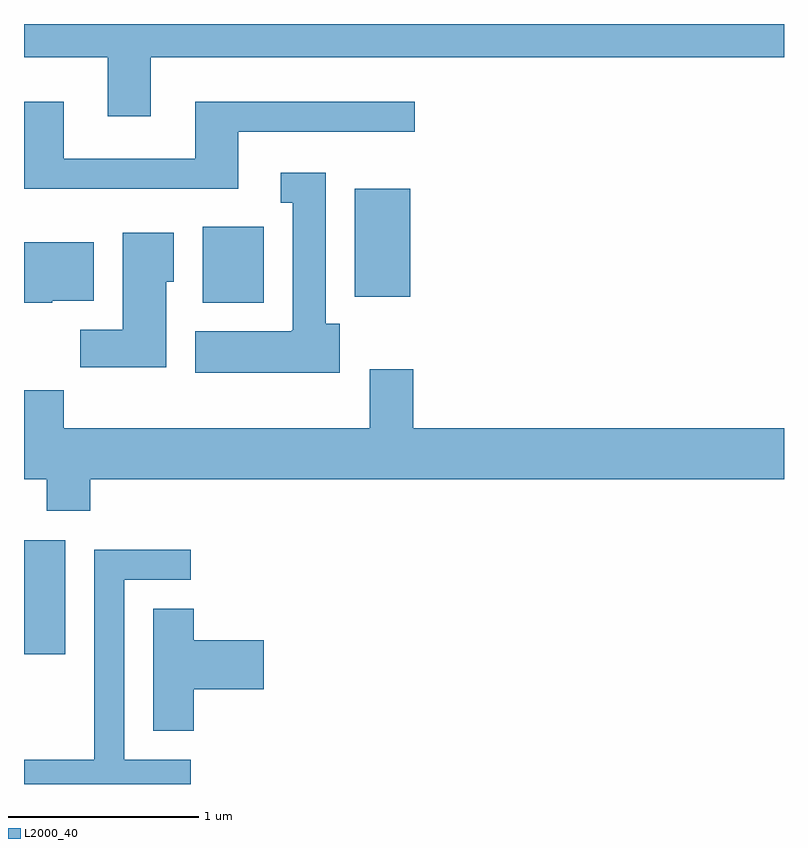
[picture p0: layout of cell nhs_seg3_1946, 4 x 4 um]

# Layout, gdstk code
import gdstk
lib = gdstk.Library(unit=1e-6, precision=1e-09)
def R(c, l, rs):  # rectangles x0, y0, x1, y1
    for r in rs: c.add(gdstk.rectangle(r[:2], r[2:], *l))
def P(c, l, *ps):  # polygons
    for p in ps: c.add(gdstk.Polygon(p, *l))
L2000_40 = (2000, 40)

nhs_seg3_1946 = lib.new_cell('nhs_seg3_1946')
R(nhs_seg3_1946, L2000_40, [(241.611,1200.576,241.829,1201.174), (242.551,1202.426,242.874,1202.824), (243.351,1202.456,243.644,1203.024)])
P(nhs_seg3_1946, L2000_40, [(242.279,1203.716),(245.611,1203.716),(245.611,1203.892),(241.611,1203.892),(241.611,1203.716),(242.051,1203.716),(242.051,1203.406),(242.279,1203.406)],
  [(242.739,1203.326),(243.668,1203.326),(243.668,1203.484),(242.511,1203.484),(242.511,1203.184),(241.819,1203.184),(241.819,1203.484),(241.611,1203.484),(241.611,1203.026),(242.739,1203.026)],
  [(243.274,1202.314),(243.199,1202.314),(243.199,1203.109),(242.963,1203.109),(242.963,1202.951),(243.026,1202.951),(243.026,1202.28),(243.02,1202.28),(243.02,1202.274),(242.511,1202.274),(242.511,1202.056),(243.274,1202.056)],
  [(242.359,1202.536),(242.399,1202.536),(242.399,1202.794),(242.131,1202.794),(242.131,1202.284),(241.906,1202.284),(241.906,1202.086),(242.359,1202.086)],
  [(241.76,1202.436),(241.979,1202.436),(241.979,1202.744),(241.611,1202.744),(241.611,1202.426),(241.76,1202.426)],
  [(241.959,1201.496),(245.611,1201.496),(245.611,1201.764),(243.659,1201.764),(243.659,1202.074),(243.431,1202.074),(243.431,1201.764),(241.819,1201.764),(241.819,1201.964),(241.611,1201.964),(241.611,1201.496),(241.731,1201.496),(241.731,1201.331),(241.959,1201.331)],
  [(242.488,1200.019),(242.139,1200.019),(242.139,1200.966),(242.488,1200.966),(242.488,1201.124),(241.981,1201.124),(241.981,1200.019),(241.611,1200.019),(241.611,1199.892),(242.488,1199.892)],
  [(242.504,1200.391),(242.874,1200.391),(242.874,1200.649),(242.504,1200.649),(242.504,1200.814),(242.291,1200.814),(242.291,1200.171),(242.504,1200.171)])

lib.write_gds('nhs_seg3_1946.gds')
